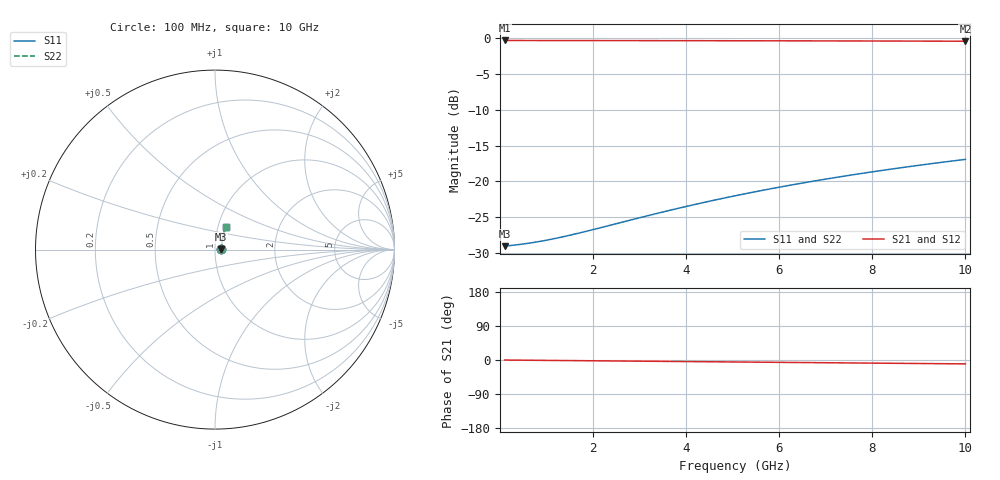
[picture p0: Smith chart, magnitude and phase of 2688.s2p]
# Hz S RI R 50.00
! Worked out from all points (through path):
!   100 points, 100 MHz to 10 GHz, reference 50 ohm
!   highest |S21| = -0.31 dB at 100 MHz (marker M1); lowest = -0.4 dB at 10 GHz (marker M2)
!   group delay of S21, straight-line fit = 2.85 ps
!   lowest |S11| = -29.0 dB at 100 MHz (marker M3), VSWR 1.07, Z = 53.7 + j0.143 ohm
!   |S11| at or under -10 dB: start of sweep to end of sweep
!   |S22| runs from -29.0 to -16.9 dB; largest |S21 - S12| = 0
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1e8  0.0353 0.00133  0.9647 -0.00174  0.9647 -0.00174  0.0353 0.00133
5e8  0.036 0.00664  0.964 -0.00868  0.964 -0.00868  0.036 0.00664
7e8  0.0362 0.00929  0.9638 -0.0122  0.9638 -0.0122  0.0362 0.00929
9e8  0.0364 0.0119  0.9636 -0.0156  0.9636 -0.0156  0.0364 0.0119
1.1e9  0.0366 0.0146  0.9633 -0.0191  0.9633 -0.0191  0.0366 0.0146
1.3e9  0.0369 0.0172  0.9631 -0.0225  0.9631 -0.0225  0.0369 0.0172
1.5e9  0.0371 0.0199  0.9629 -0.026  0.9629 -0.026  0.0371 0.0199
1.8e9  0.0375 0.0238  0.9625 -0.0312  0.9625 -0.0312  0.0375 0.0238
3.4e9  0.0399 0.0449  0.96 -0.0588  0.96 -0.0588  0.0399 0.0449
3.9e9  0.0409 0.0514  0.959 -0.0674  0.959 -0.0674  0.0409 0.0514
4.3e9  0.0418 0.0566  0.9581 -0.0742  0.9581 -0.0742  0.0418 0.0566
4.7e9  0.0427 0.0618  0.9571 -0.0811  0.9571 -0.0811  0.0427 0.0618
5.1e9  0.0437 0.067  0.9561 -0.0879  0.9561 -0.0879  0.0437 0.067
5.5e9  0.0447 0.0721  0.955 -0.0947  0.955 -0.0947  0.0447 0.0721
5.9e9  0.0459 0.0773  0.9538 -0.1015  0.9538 -0.1015  0.0459 0.0773
6.3e9  0.0471 0.0824  0.9526 -0.1082  0.9526 -0.1082  0.0471 0.0824
6.7e9  0.0484 0.0875  0.9512 -0.115  0.9512 -0.115  0.0484 0.0875
7.5e9  0.0511 0.0976  0.9484 -0.1284  0.9484 -0.1284  0.0511 0.0976
7.9e9  0.0526 0.1027  0.9468 -0.1351  0.9468 -0.1351  0.0526 0.1027
8.4e9  0.0546 0.1089  0.9448 -0.1434  0.9448 -0.1434  0.0546 0.1089
9.2e9  0.0579 0.1188  0.9413 -0.1566  0.9413 -0.1566  0.0579 0.1188
1e10  0.0615 0.1286  0.9376 -0.1697  0.9376 -0.1697  0.0615 0.1286
